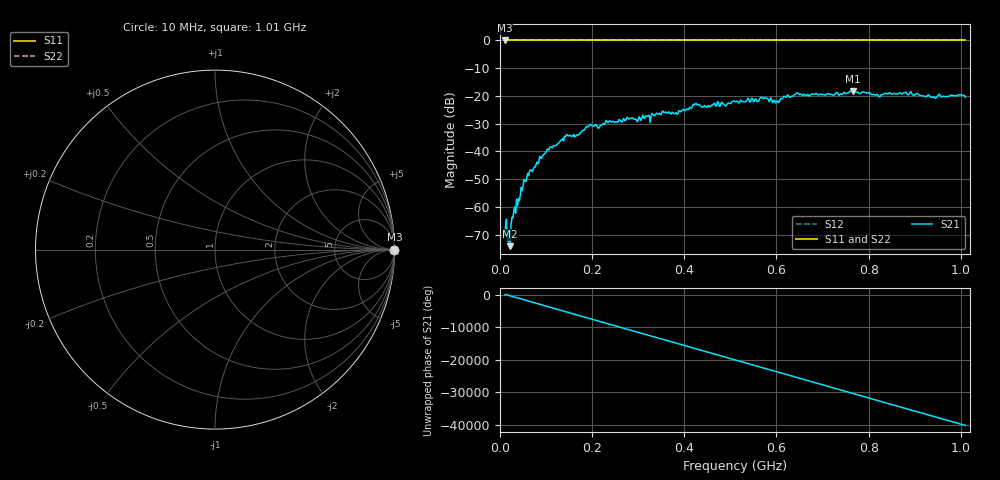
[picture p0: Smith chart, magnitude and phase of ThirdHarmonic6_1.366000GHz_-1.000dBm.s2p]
! 8/16/2025 3:27:17 PM
! C:\ANRITSUVNA\TEMP\TEMP.S2P
! CHANNEL.1
! TR.MEASUREMENT
! RAW.DATA
! RF.CORRECTION.OFF
! AVERAGING.OFF
! IF.BANDWIDTH: 5KHZ
! SWEEPTYPE:  FREQ.SWEEP(Linear)
! Reference Plane Port Info
! PORT:  PORT1  PORT2
! DISTANCE:  0  m  0  m
! TIME:  0  s  0  s
! PHASE.OFFSET:  0  deg.  0  deg.
! LOSS:  0  dB  0  dB
! REF.LOSS:  0  dB  0  dB
! REF.FREQ:  0  Hz  0  Hz
! Power Info
! POWER:  -20  dBm  -20  dBm
! EFF.POWER:  -20  dBm  -20  dBm
! SOURCE.ATTEN:  0  dB  0  dB
! TEST.ATTEN:  0  dB  0  dB
# GHZ S RI R 50.0
! FREQ.GHZ  S11RE  S11IM  S21RE  S21IM  S12RE  S12IM  S22RE  S22IM
!; PortSelection: Port_12
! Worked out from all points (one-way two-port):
!   501 points, 10 MHz to 1.01 GHz, reference 50 ohm
!   highest |S21| = -18.22 dB at 766 MHz (marker M1); lowest = -74.1 dB at 22 MHz (marker M2)
!   lowest |S11| = 0.0 dB at 10 MHz (marker M3)
!   |S11| at or under -10 dB: nowhere
!   |S22| runs from 0.0 to 0.0 dB; largest |S21 - S12| = 1.1
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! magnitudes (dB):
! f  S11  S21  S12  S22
! 10 MHz  0.0  -70.3  0.0  0.0
! 20 MHz  0.0  -68.2  0.0  0.0
! 22 MHz  0.0  -74.1  0.0  0.0
! 32 MHz  0.0  -59.9  0.0  0.0
! 50 MHz  0.0  -52.5  0.0  0.0
! 64 MHz  0.0  -46.9  0.0  0.0
! 106 MHz  0.0  -39.5  0.0  0.0
! 144 MHz  0.0  -34.0  0.0  0.0
! 178 MHz  0.0  -32.7  0.0  0.0
! 196 MHz  0.0  -30.3  0.0  0.0
! 344 MHz  0.0  -26.5  0.0  0.0
! 382 MHz  0.0  -26.0  0.0  0.0
! 424 MHz  0.0  -22.8  0.0  0.0
! 452 MHz  0.0  -23.5  0.0  0.0
! 510 MHz  0.0  -22.0  0.0  0.0
! 570 MHz  0.0  -20.9  0.0  0.0
! 602 MHz  0.0  -21.7  0.0  0.0
! 644 MHz  0.0  -18.9  0.0  0.0
! 678 MHz  0.0  -19.3  0.0  0.0
! 766 MHz  0.0  -18.2  0.0  0.0
! 844 MHz  0.0  -19.0  0.0  0.0
! 1.01 GHz  0.0  -20.4  0.0  0.0
